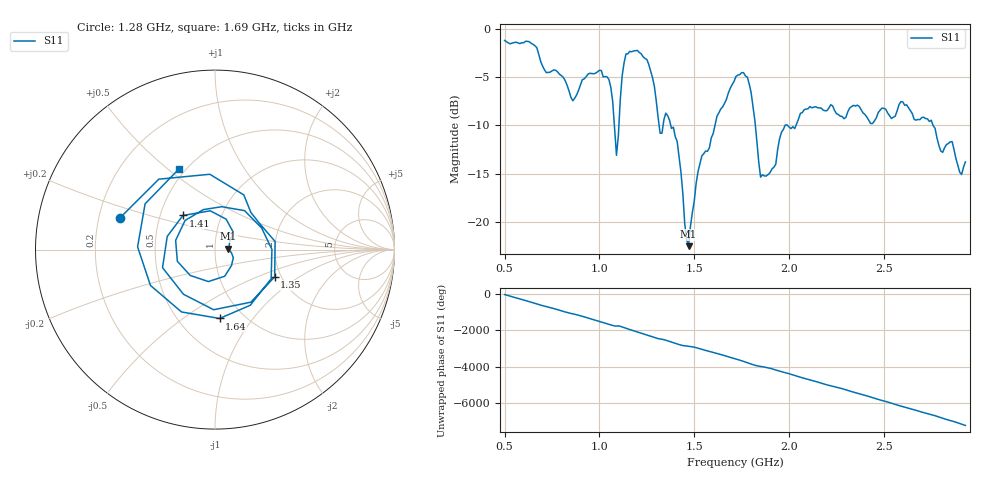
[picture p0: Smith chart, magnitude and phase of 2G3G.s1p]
#  HZ  S  DB  R  50.0
! Rohde & Schwarz ZVL
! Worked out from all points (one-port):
!   244 points, 500 MHz to 2.93 GHz, reference 50 ohm
!   lowest |S11| = -22.5 dB at 1.47 GHz (marker M1), VSWR 1.16, Z = 58.1 + j0.646 ohm
!   |S11| at or under -10 dB: 1.376 GHz to 1.61 GHz (233.6 MHz wide, 15.6 % of centre); 1.822 GHz to 1.979 GHz (157.1 MHz wide, 8.26 % of centre); 2.759 GHz to end of sweep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
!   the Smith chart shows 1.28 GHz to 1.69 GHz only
!   S11 on the Smith chart (normalised r, x): 1.28 GHz: 0.29, +0.15; 1.35 GHz: 1.85, -0.65; 1.41 GHz: 0.65, +0.27; 1.64 GHz: 0.78, -0.70; 1.69 GHz: 0.46, +0.55
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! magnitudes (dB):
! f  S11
! 500 MHz  -1.2
! 810 MHz  -5.0
! 860 MHz  -7.5
! 940 MHz  -4.7
! 1.05 GHz  -5.2
! 1.09 GHz  -13.1
! 1.11 GHz  -7.3
! 1.13 GHz  -3.5
! 1.16 GHz  -2.3
! 1.28 GHz  -5.1
! 1.32 GHz  -10.8
! 1.35 GHz  -8.7
! 1.41 GHz  -11.7
! 1.42 GHz  -13.2
! 1.47 GHz  -22.5
! 1.52 GHz  -14.8
! 1.64 GHz  -8.3
! 1.69 GHz  -6.2
! 1.72 GHz  -4.9
! 1.79 GHz  -5.7
! 1.85 GHz  -15.4
! 2.02 GHz  -10.1
! 2.33 GHz  -8.1
! 2.43 GHz  -9.8
! 2.63 GHz  -8.2
! 2.86 GHz  -11.7
! 2.91 GHz  -15.1
! 2.93 GHz  -13.8
